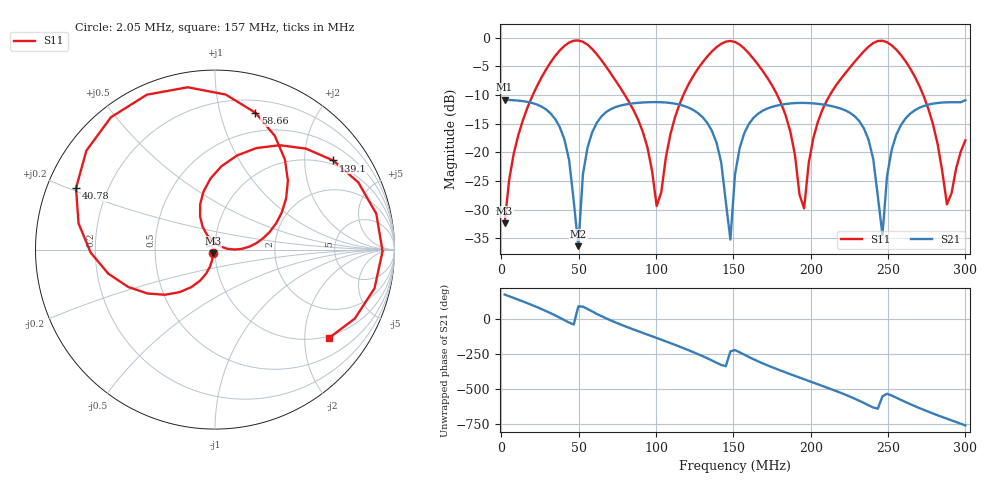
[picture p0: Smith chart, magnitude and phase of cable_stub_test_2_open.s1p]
# Hz S RI R 50
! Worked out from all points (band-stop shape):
!   101 points, 2.05 MHz to 300 MHz, reference 50 ohm
!   highest |S21| = -10.83 dB at 2.05 MHz (marker M1); lowest = -36.4 dB at 49.72 MHz (marker M2)
!   |S21| within 3 dB of the highest: 64.45 MHz to 129.8 MHz (65.39 MHz wide, 67.3 % of centre); 163.7 MHz to 228.8 MHz (65.11 MHz wide, 33.2 % of centre) (the widest 2 of 4)
!   lowest |S11| = -32.4 dB at 2.05 MHz (marker M3), VSWR 1.05, Z = 48.7 - j1.98 ohm
!   |S11| at or under -10 dB: 79.75 MHz to 117.7 MHz (37.92 MHz wide, 38.4 % of centre); 178.3 MHz to 212.5 MHz (34.18 MHz wide, 17.5 % of centre); 272.7 MHz to end of sweep (the widest 3 of 4)
!   S12 and S22 are empty: the file has one direction only
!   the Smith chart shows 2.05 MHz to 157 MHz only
!   S11 on the Smith chart (normalised r, x): 2.05 MHz: 0.97, -0.04; 40.78 MHz: 0.09, +0.21; 58.66 MHz: 0.31, +1.29; 139.1 MHz: 0.88, +2.73; 157 MHz: 0.94, -2.62
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2050000  -0.013 -0.0203  -0.2842 0.043  0 0  0 0
2.5886e7  -0.3759 -0.2446  0.0912 0.233  0 0  0 0
4.07835e7  -0.7745 0.3423  0.1265 -0.0228  0 0  0 0
4.9722e7  -0.3798 0.863  0.00071 0.0152  0 0  0 0
5.27015e7  -0.1521 0.9045  0.00486 0.0643  0 0  0 0
5.86605e7  0.2254 0.7626  0.0927 0.1166  0 0  0 0
7.65375e7  0.3405 0.146  0.1985 -0.1591  0 0  0 0
1.03353e8  -0.0095 0.0438  -0.233 -0.1423  0 0  0 0
1.15271e8  -0.0827 0.2521  -0.2468 0.0815  0 0  0 0
1.39107e8  0.6586 0.4965  0.0809 0.0899  0 0  0 0
1.480455e8  0.9335 -0.00896  -0.0108 0.0136  0 0  0 0
1.51025e8  0.8888 -0.2159  -0.0469 0.0432  0 0  0 0
1.56984e8  0.6344 -0.4931  -0.0382 0.141  0 0  0 0
1.837995e8  -0.0653 -0.1988  0.2461 -0.0943  0 0  0 0
1.957175e8  0.0315 -0.00769  0.0945 -0.2522  0 0  0 0
2.016765e8  0.1312 0.0222  -0.0157 -0.2662  0 0  0 0
2.34451e8  0.3207 -0.6903  -0.085 0.1366  0 0  0 0
2.46369e8  -0.4126 -0.8425  -0.0186 0.00361  0 0  0 0
2.52328e8  -0.6881 -0.5086  -0.1047 0.0087  0 0  0 0
2.672255e8  -0.4314 0.1548  -0.0415 0.2284  0 0  0 0
2.88082e8  -0.0338 0.00978  0.2679 0.0502  0 0  0 0
3e8  -0.0699 -0.106  0.227 -0.1717  0 0  0 0
